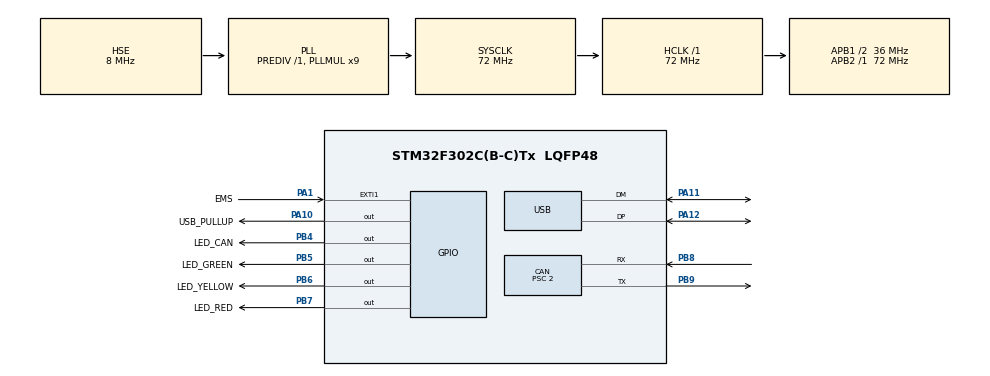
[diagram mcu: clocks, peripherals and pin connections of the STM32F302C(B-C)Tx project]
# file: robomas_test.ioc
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CAN.AWUM=ENABLE
CAN.BS1=CAN_BS1_15TQ
CAN.BS2=CAN_BS2_2TQ
CAN.CalculateBaudRate=1000000
CAN.CalculateTimeBit=1000
CAN.CalculateTimeQuantum=55.55555555555556
CAN.Prescaler=2
Mcu.Family=STM32F3
Mcu.Name=STM32F302C(B-C)Tx
Mcu.Package=LQFP48
NVIC.EXTI1_IRQn=true\:0\:0\:false\:false\:true\:true\:true\:true
NVIC.PriorityGroup=NVIC_PRIORITYGROUP_4
NVIC.TIM3_IRQn=true\:2\:0\:true\:false\:true\:true\:true\:true
NVIC.USB_LP_CAN_RX0_IRQn=true\:1\:0\:true\:false\:true\:true\:true\:true
NVIC.USB_LP_IRQn=true\:0\:0\:false\:false\:true\:false\:true\:true
PA1.GPIO_Label=EMS
PA1.GPIO_PuPd=GPIO_PULLDOWN
PA1.Signal=GPXTI1
PA10.GPIO_Label=USB_PULLUP
PA10.GPIO_PuPd=GPIO_NOPULL
PA10.Signal=GPIO_Output
PA11.Mode=Device
PA11.Signal=USB_DM
PA12.Mode=Device
PA12.Signal=USB_DP
PA13.Mode=Serial_Wire
PA13.Signal=SYS_JTMS-SWDIO
PA14.Mode=Serial_Wire
PA14.Signal=SYS_JTCK-SWCLK
PB4.GPIO_Label=LED_CAN
PB4.Signal=GPIO_Output
PB5.GPIO_Label=LED_GREEN
PB5.Signal=GPIO_Output
PB6.GPIO_Label=LED_YELLOW
PB6.Signal=GPIO_Output
PB7.GPIO_Label=LED_RED
PB7.Signal=GPIO_Output
PB8.Mode=CAN_Activate
PB8.Signal=CAN_RX
PB9.Mode=CAN_Activate
PB9.Signal=CAN_TX
PF0-OSC_IN.Mode=HSE-External-Oscillator
PF0-OSC_IN.Signal=RCC_OSC_IN
PF1-OSC_OUT.Mode=HSE-External-Oscillator
PF1-OSC_OUT.Signal=RCC_OSC_OUT
ProjectManager.HeapSize=0x200
ProjectManager.StackSize=0x400
ProjectManager.TargetToolchain=STM32CubeIDE
RCC.AHBFreq_Value=72000000
RCC.APB1CLKDivider=RCC_HCLK_DIV2
RCC.APB1Freq_Value=36000000
RCC.APB1TimFreq_Value=72000000
RCC.APB2Freq_Value=72000000
RCC.APB2TimFreq_Value=72000000
RCC.CortexFreq_Value=72000000
RCC.HCLKFreq_Value=72000000
RCC.HSE_VALUE=8000000
RCC.HSI_VALUE=8000000
RCC.LSE_VALUE=32768
RCC.PLLMUL=RCC_PLL_MUL9
RCC.PRESCALERUSB=RCC_USBCLKSOURCE_PLL_DIV1_5
RCC.SYSCLKFreq_VALUE=72000000
RCC.SYSCLKSourceVirtual=RCC_SYSCLKSOURCE_PLLCLK
RCC.USBFreq_Value=48000000
TIM3.Channel-PWM\ Generation1\ No\ Output=TIM_CHANNEL_1
TIM3.Period=35999
TIM3.Prescaler=1
USB_DEVICE.CLASS_NAME_FS=CDC
USB_DEVICE.MANUFACTURER_STRING=CRS
USB_DEVICE.PID_CDC_FS=1035
USB_DEVICE.VirtualMode=Cdc
USB_DEVICE.VirtualModeFS=Cdc_FS
VP_TIM3_VS_ClockSourceINT.Mode=Internal
VP_TIM3_VS_no_output1.Mode=PWM Generation1 No Output
VP_USB_DEVICE_VS_USB_DEVICE_CDC_FS.Mode=CDC_FS
board=custom

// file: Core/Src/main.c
/* USER CODE BEGIN Header */
/**
  ******************************************************************************
  * @file           : main.c
  * @brief          : Main program body
  ******************************************************************************
  * @attention
  *
  * Copyright (c) 2023 STMicroelectronics.
  * All rights reserved.
  *
  * This software is licensed under terms that can be found in the LICENSE file
  * in the root directory of this software component.
  * If no LICENSE file comes with this software, it is provided AS-IS.
  *
  ******************************************************************************
  */
/* USER CODE END Header */
#include "main.h"
#include "usb_device.h"

/* USER CODE BEGIN Includes */
#include "led.h"
/* USER CODE END Includes */

CAN_HandleTypeDef hcan;
CAN_FilterTypeDef filter;
TIM_HandleTypeDef htim3;

void SystemClock_Config(void);
static void MX_GPIO_Init(void);
static void MX_CAN_Init(void);
static void MX_TIM3_Init(void);

/* USER CODE BEGIN 0 */
extern USBD_HandleTypeDef hUsbDeviceFS;
/* USER CODE END 0 */

int main(void)
{

  /* MCU Configuration--------------------------------------------------------*/

  /* Reset of all peripherals, Initializes the Flash interface and the Systick. */
  HAL_Init();

  /* Configure the system clock */
  SystemClock_Config();

  /* Initialize all configured peripherals */
  MX_GPIO_Init();
  MX_CAN_Init();
  MX_TIM3_Init();
  MX_USB_DEVICE_Init();
  /* USER CODE BEGIN 2 */
  led_on(green);
  led_on(yellow);
  led_on(red);
  led_on(can);

  filter.FilterIdHigh         = 0;                        // フィルターID(上�?16ビッ
  filter.FilterIdLow          = 0;                        // フィルターID(下�?16ビッ
  filter.FilterMaskIdHigh     = 0;                        // フィルターマスク(上�?16ビッ
  filter.FilterMaskIdLow      = 0;                        // フィルターマスク(下�?16ビッ
  filter.FilterScale          = CAN_FILTERSCALE_32BIT;    // フィルタースケール
  filter.FilterFIFOAssignment = CAN_FILTER_FIFO0;         // フィルターに割り当てるFIFO
  filter.FilterBank           = 0;                        // フィルターバンクNo
  filter.FilterMode           = CAN_FILTERMODE_IDMASK;    // フィルターモー
  filter.SlaveStartFilterBank = 14;                       // スレーブCANの開始フィルターバンクNo
  filter.FilterActivation     = ENABLE;                   // フィルター無効
  if(HAL_CAN_ConfigFilter(&hcan, &filter)!=HAL_OK ){
    Error_Handler();
  }

  if(HAL_CAN_ActivateNotification(&hcan, CAN_IT_RX_FIFO0_MSG_PENDING)!=HAL_OK){
    Error_Handler();
  }

  main_cpp();
  /* USER CODE END 2 */

  /* Infinite loop */
  /* USER CODE BEGIN WHILE */
//  while (1)
//  {
    /* USER CODE END WHILE */

    /* USER CODE BEGIN 3 */
//  }
  /* USER CODE END 3 */
}

void SystemClock_Config(void)
{
  RCC_OscInitTypeDef RCC_OscInitStruct = {0};
  RCC_ClkInitTypeDef RCC_ClkInitStruct = {0};
  RCC_PeriphCLKInitTypeDef PeriphClkInit = {0};

  /** Initializes the RCC Oscillators according to the specified parameters
  * in the RCC_OscInitTypeDef structure.
  */
  RCC_OscInitStruct.OscillatorType = RCC_OSCILLATORTYPE_HSE;
  RCC_OscInitStruct.HSEState = RCC_HSE_ON;
  RCC_OscInitStruct.HSEPredivValue = RCC_HSE_PREDIV_DIV1;
  RCC_OscInitStruct.HSIState = RCC_HSI_ON;
  RCC_OscInitStruct.PLL.PLLState = RCC_PLL_ON;
  RCC_OscInitStruct.PLL.PLLSource = RCC_PLLSOURCE_HSE;
  RCC_OscInitStruct.PLL.PLLMUL = RCC_PLL_MUL9;
  if (HAL_RCC_OscConfig(&RCC_OscInitStruct) != HAL_OK)
  {
    Error_Handler();
  }

  /** Initializes the CPU, AHB and APB buses clocks
  */
  RCC_ClkInitStruct.ClockType = RCC_CLOCKTYPE_HCLK|RCC_CLOCKTYPE_SYSCLK
                              |RCC_CLOCKTYPE_PCLK1|RCC_CLOCKTYPE_PCLK2;
  RCC_ClkInitStruct.SYSCLKSource = RCC_SYSCLKSOURCE_PLLCLK;
  RCC_ClkInitStruct.AHBCLKDivider = RCC_SYSCLK_DIV1;
  RCC_ClkInitStruct.APB1CLKDivider = RCC_HCLK_DIV2;
  RCC_ClkInitStruct.APB2CLKDivider = RCC_HCLK_DIV1;

  if (HAL_RCC_ClockConfig(&RCC_ClkInitStruct, FLASH_LATENCY_2) != HAL_OK)
  {
    Error_Handler();
  }
  PeriphClkInit.PeriphClockSelection = RCC_PERIPHCLK_USB;
  PeriphClkInit.USBClockSelection = RCC_USBCLKSOURCE_PLL_DIV1_5;
  if (HAL_RCCEx_PeriphCLKConfig(&PeriphClkInit) != HAL_OK)
  {
    Error_Handler();
  }
}

static void MX_CAN_Init(void)
{

  hcan.Instance = CAN;
  hcan.Init.Prescaler = 2;
  hcan.Init.Mode = CAN_MODE_NORMAL;
  hcan.Init.SyncJumpWidth = CAN_SJW_1TQ;
  hcan.Init.TimeSeg1 = CAN_BS1_15TQ;
  hcan.Init.TimeSeg2 = CAN_BS2_2TQ;
  hcan.Init.TimeTriggeredMode = DISABLE;
  hcan.Init.AutoBusOff = DISABLE;
  hcan.Init.AutoWakeUp = ENABLE;
  hcan.Init.AutoRetransmission = DISABLE;
  hcan.Init.ReceiveFifoLocked = DISABLE;
  hcan.Init.TransmitFifoPriority = DISABLE;
  if (HAL_CAN_Init(&hcan) != HAL_OK)
  {
    Error_Handler();
  }

}

static void MX_TIM3_Init(void)
{

  TIM_ClockConfigTypeDef sClockSourceConfig = {0};
  TIM_MasterConfigTypeDef sMasterConfig = {0};
  TIM_OC_InitTypeDef sConfigOC = {0};

  htim3.Instance = TIM3;
  htim3.Init.Prescaler = 1;
  htim3.Init.CounterMode = TIM_COUNTERMODE_UP;
  htim3.Init.Period = 35999;
  htim3.Init.ClockDivision = TIM_CLOCKDIVISION_DIV1;
  htim3.Init.AutoReloadPreload = TIM_AUTORELOAD_PRELOAD_DISABLE;
  if (HAL_TIM_Base_Init(&htim3) != HAL_OK)
  {
    Error_Handler();
  }
  sClockSourceConfig.ClockSource = TIM_CLOCKSOURCE_INTERNAL;
  if (HAL_TIM_ConfigClockSource(&htim3, &sClockSourceConfig) != HAL_OK)
  {
    Error_Handler();
  }
  if (HAL_TIM_PWM_Init(&htim3) != HAL_OK)
  {
    Error_Handler();
  }
  sMasterConfig.MasterOutputTrigger = TIM_TRGO_RESET;
  sMasterConfig.MasterSlaveMode = TIM_MASTERSLAVEMODE_DISABLE;
  if (HAL_TIMEx_MasterConfigSynchronization(&htim3, &sMasterConfig) != HAL_OK)
  {
    Error_Handler();
  }
  sConfigOC.OCMode = TIM_OCMODE_PWM1;
  sConfigOC.Pulse = 0;
  sConfigOC.OCPolarity = TIM_OCPOLARITY_HIGH;
  sConfigOC.OCFastMode = TIM_OCFAST_DISABLE;
  if (HAL_TIM_PWM_ConfigChannel(&htim3, &sConfigOC, TIM_CHANNEL_1) != HAL_OK)
  {
    Error_Handler();
  }

}

static void MX_GPIO_Init(void)
{
  GPIO_InitTypeDef GPIO_InitStruct = {0};

  /* GPIO Ports Clock Enable */
  __HAL_RCC_GPIOF_CLK_ENABLE();
  __HAL_RCC_GPIOA_CLK_ENABLE();
  __HAL_RCC_GPIOB_CLK_ENABLE();

  /*Configure GPIO pin Output Level */
  HAL_GPIO_WritePin(USB_PULLUP_GPIO_Port, USB_PULLUP_Pin, GPIO_PIN_RESET);

  /*Configure GPIO pin Output Level */
  HAL_GPIO_WritePin(GPIOB, LED_CAN_Pin|LED_GREEN_Pin|LED_YELLOW_Pin|LED_RED_Pin, GPIO_PIN_RESET);

  /*Configure GPIO pin : EMS_Pin */
  GPIO_InitStruct.Pin = EMS_Pin;
  GPIO_InitStruct.Mode = GPIO_MODE_IT_RISING;
  GPIO_InitStruct.Pull = GPIO_PULLDOWN;
  HAL_GPIO_Init(EMS_GPIO_Port, &GPIO_InitStruct);

  /*Configure GPIO pin : USB_PULLUP_Pin */
  GPIO_InitStruct.Pin = USB_PULLUP_Pin;
  GPIO_InitStruct.Mode = GPIO_MODE_OUTPUT_PP;
  GPIO_InitStruct.Pull = GPIO_NOPULL;
  GPIO_InitStruct.Speed = GPIO_SPEED_FREQ_LOW;
  HAL_GPIO_Init(USB_PULLUP_GPIO_Port, &GPIO_InitStruct);

  /*Configure GPIO pins : LED_CAN_Pin LED_GREEN_Pin LED_YELLOW_Pin LED_RED_Pin */
  GPIO_InitStruct.Pin = LED_CAN_Pin|LED_GREEN_Pin|LED_YELLOW_Pin|LED_RED_Pin;
  GPIO_InitStruct.Mode = GPIO_MODE_OUTPUT_PP;
  GPIO_InitStruct.Pull = GPIO_NOPULL;
  GPIO_InitStruct.Speed = GPIO_SPEED_FREQ_LOW;
  HAL_GPIO_Init(GPIOB, &GPIO_InitStruct);

  /* EXTI interrupt init*/
  HAL_NVIC_SetPriority(EXTI1_IRQn, 0, 0);
  HAL_NVIC_EnableIRQ(EXTI1_IRQn);

}

void Error_Handler(void)
{
  /* USER CODE BEGIN Error_Handler_Debug */
  /* User can add his own implementation to report the HAL error return state */
  __disable_irq();
  while (1)
  {
	  HAL_GPIO_WritePin(LED_RED_GPIO_Port, LED_RED_Pin, GPIO_PIN_SET);
	  if((HAL_CAN_ActivateNotification(&hcan, CAN_IT_RX_FIFO0_MSG_PENDING)==HAL_OK)&&(HAL_CAN_ConfigFilter(&hcan, &filter)==HAL_OK )){
		  HAL_GPIO_WritePin(LED_RED_GPIO_Port, LED_RED_Pin, GPIO_PIN_RESET);
		  return;
	  }
  }
  /* USER CODE END Error_Handler_Debug */
}
